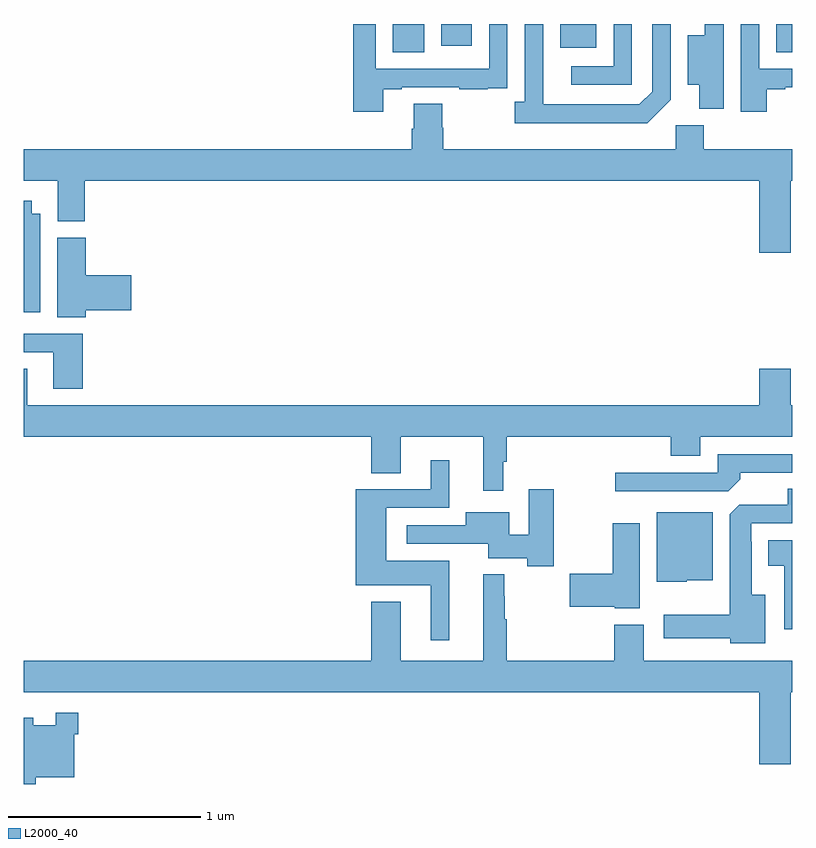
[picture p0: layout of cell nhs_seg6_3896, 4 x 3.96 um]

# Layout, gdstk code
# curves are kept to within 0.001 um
import gdstk
lib = gdstk.Library(unit=1e-6, precision=1e-09)
def R(c, l, rs):  # rectangles x0, y0, x1, y1
    for r in rs: c.add(gdstk.rectangle(r[:2], r[2:], *l))
def P(c, l, *ps):  # polygons
    for p in ps: c.add(gdstk.Polygon(p, *l))
L2000_40 = (2000, 40)

nhs_seg6_3896 = lib.new_cell('nhs_seg6_3896')
R(nhs_seg6_3896, L2000_40, [(342.92,933.352,343.084,933.5), (344.918,933.352,345,933.5), (343.793,933.377,343.981,933.5), (343.172,933.387,343.333,933.5)])
P(nhs_seg6_3896, L2000_40, [(344.166,933.5),(344.07,933.5),(344.07,933.279),(343.851,933.279),(343.851,933.183),(344.166,933.183)],
  [(344.643,933.5),(344.546,933.5),(344.546,933.442),(344.456,933.442),(344.456,933.185),(344.516,933.185),(344.516,933.059),(344.643,933.059)],
  [(344.869,933.159),(344.965,933.159),(344.965,933.171),(345,933.171),(345,933.267),(344.829,933.267),(344.829,933.5),(344.733,933.5),(344.733,933.042),(344.869,933.042)],
  [(342.871,933.159),(342.967,933.159),(342.967,933.171),(343.267,933.171),(343.267,933.159),(343.415,933.159),(343.415,933.165),(343.517,933.165),(343.517,933.274),(343.518,933.274),(343.518,933.5),(343.422,933.5),(343.422,933.267),(342.831,933.267),(342.831,933.5),(342.715,933.5),(342.715,933.042),(342.871,933.042)],
  [(344.367,933.105),(344.367,933.5),(344.271,933.5),(344.271,933.147),(344.205,933.081),(343.705,933.081),(343.704,933.5),(343.608,933.5),(343.608,933.094),(343.557,933.094),(343.557,932.984),(344.246,932.984)],
  [(344.992,932.684),(345,932.684),(345,932.848),(344.541,932.848),(344.541,932.974),(344.394,932.974),(344.394,932.848),(343.184,932.848),(343.184,932.961),(343.179,932.961),(343.179,933.086),(343.031,933.086),(343.031,932.954),(343.019,932.954),(343.019,932.848),(341,932.848),(341,932.684),(341.177,932.684),(341.177,932.473),(341.318,932.473),(341.318,932.684),(344.828,932.684),(344.828,932.31),(344.992,932.31)],
  [(341.086,932.512),(341.041,932.512),(341.041,932.581),(341,932.581),(341,932),(341.086,932)],
  [(341.321,932.009),(341.56,932.009),(341.56,932.192),(341.321,932.192),(341.321,932.388),(341.174,932.388),(341.174,931.972),(341.321,931.972)],
  [(341.306,931.887),(341,931.887),(341,931.791),(341.153,931.791),(341.153,931.602),(341.306,931.602)],
  [(343.495,931.22),(343.513,931.22),(343.513,931.352),(344.369,931.352),(344.369,931.253),(344.521,931.253),(344.521,931.352),(345,931.352),(345,931.516),(344.992,931.516),(344.992,931.705),(344.828,931.705),(344.828,931.516),(341.017,931.516),(341.017,931.706),(341,931.706),(341,931.352),(342.809,931.352),(342.809,931.162),(342.961,931.162),(342.961,931.352),(343.391,931.352),(343.391,931.071),(343.495,931.071)],
  [(344.729,931.13),(344.729,931.164),(345,931.164),(345,931.26),(344.613,931.26),(344.613,931.164),(344.079,931.164),(344.079,931.068),(344.667,931.068)],
  [(343.216,930.706),(342.886,930.706),(342.886,930.981),(343.216,930.981),(343.216,931.228),(343.118,931.228),(343.118,931.077),(342.728,931.077),(342.728,930.578),(343.118,930.578),(343.118,930.291),(343.216,930.291)],
  [(344.86,930.529),(344.791,930.529),(344.791,930.803),(344.787,930.803),(344.787,930.9),(345,930.9),(345,931.079),(344.978,931.079),(344.978,930.996),(344.724,930.996),(344.675,930.947),(344.675,930.424),(344.331,930.424),(344.331,930.302),(344.679,930.302),(344.679,930.275),(344.86,930.275)],
  [(343.758,931.078),(343.628,931.078),(343.628,930.842),(343.528,930.842),(343.528,930.958),(343.301,930.958),(343.301,930.891),(342.993,930.891),(342.993,930.795),(343.418,930.795),(343.418,930.719),(343.621,930.719),(343.621,930.677),(343.758,930.677)],
  [(344.451,930.605),(344.587,930.605),(344.587,930.958),(344.294,930.958),(344.294,930.596),(344.451,930.596)],
  [(344.206,930.901),(344.065,930.901),(344.065,930.638),(343.842,930.638),(343.842,930.467),(344.076,930.467),(344.076,930.458),(344.206,930.458)],
  [(345,930.811),(344.876,930.811),(344.876,930.68),(344.96,930.68),(344.96,930.348),(345,930.348)],
  [(344.992,930.02),(345,930.02),(345,930.184),(344.227,930.184),(344.227,930.373),(344.075,930.373),(344.075,930.184),(343.513,930.184),(343.513,930.401),(343.505,930.401),(343.505,930.521),(343.501,930.521),(343.501,930.634),(343.391,930.634),(343.391,930.184),(342.961,930.184),(342.961,930.493),(342.809,930.493),(342.809,930.184),(341,930.184),(341,930.02),(344.828,930.02),(344.828,929.646),(344.992,929.646)],
  [(341.063,929.579),(341.262,929.579),(341.262,929.801),(341.282,929.801),(341.282,929.914),(341.166,929.914),(341.166,929.848),(341.05,929.848),(341.05,929.887),(341,929.887),(341,929.543),(341.063,929.543)])

lib.write_gds('nhs_seg6_3896.gds')
